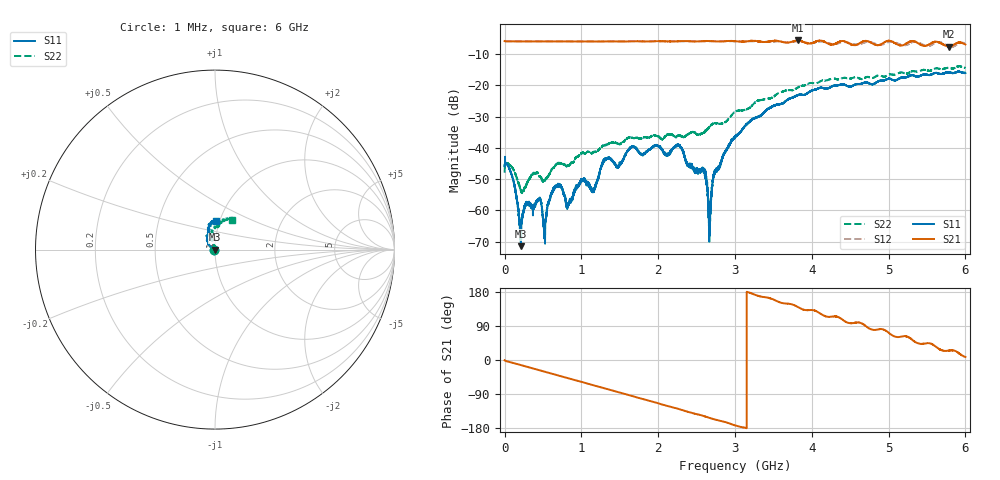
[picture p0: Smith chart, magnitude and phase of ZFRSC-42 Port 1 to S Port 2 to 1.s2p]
# GHZ S RI R 50.000000000000
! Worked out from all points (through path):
!   10000 points, 1 MHz to 6 GHz, reference 50 ohm
!   highest |S21| = -5.72 dB at 3.824 GHz (marker M1); lowest = -7.7 dB at 5.783 GHz (marker M2)
!   group delay of S21, straight-line fit = 161 ps
!   lowest |S11| = -71.4 dB at 212.8 MHz (marker M3), VSWR 1.00, Z = 50 + j0.0092 ohm
!   |S11| at or under -10 dB: start of sweep to end of sweep
!   |S22| runs from -54.5 to -13.9 dB; largest |S21 - S12| = 0.045
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0.001  -0.00506 -0.00133  0.5062 -0.00692  0.5045 -0.00614  -0.0037 -0.00154
0.105993  -0.00281 0.00175  0.4963 -0.0654  0.4979 -0.0602  -0.00332 0.00334
0.2127859  -0.000253 9.2e-05  0.4868 -0.1155  0.4886 -0.1104  -0.00108 0.00181
0.2835812  -0.00129 -4.85e-05  0.4772 -0.1496  0.4795 -0.1441  -0.00184 0.00185
0.4425706  0.00101 0.00113  0.4483 -0.222  0.4515 -0.2162  -0.000164 0.00375
0.5229652  0.000153 0.00033  0.4293 -0.2567  0.4333 -0.2507  -0.000337 0.00305
0.6573562  -0.000758 0.00224  0.3915 -0.3105  0.3963 -0.3052  -7.61e-05 0.00518
0.8277449  -0.000393 0.00114  0.3338 -0.3717  0.34 -0.3667  0.000226 0.0052
1.001133  0.000719 0.00295  0.2671 -0.4224  0.2738 -0.4182  0.0015 0.008
1.149923  0.00154 0.0013  0.2016 -0.4568  0.2095 -0.4538  0.0016 0.00834
1.317912  0.00447 0.00455  0.1254 -0.4837  0.1336 -0.4814  0.00425 0.0103
2.001267  0.0106 0.000568  -0.2072 -0.4597  -0.1981 -0.462  0.0092 0.0121
2.274248  0.0109 -0.00169  -0.3218 -0.3882  -0.3152 -0.3912  0.00795 0.0135
2.586828  0.00232 -0.00407  -0.4248 -0.2718  -0.4186 -0.2772  0.00176 0.0172
2.671422  -0.00042 1.76e-05  -0.451 -0.2301  -0.4427 -0.2387  -0.00291 0.0218
2.738018  -0.0026 0.00337  -0.4619 -0.1956  -0.4568 -0.2078  -0.00532 0.0244
3.0008  -0.0126 0.00767  -0.5006 -0.0668  -0.4967 -0.0789  -0.0115 0.0358
3.823945  -0.046 0.0533  -0.391 0.3396  -0.3881 0.3176  -0.0177 0.0919
4.000933  -0.044 0.0695  -0.3126 0.3501  -0.3079 0.3577  -0.0166 0.107
5.000467  -0.0394 0.1217  0.1572 0.4878  0.1203 0.4737  0.0265 0.1451
5.782814  -0.00683 0.1575  0.3752 0.1729  0.383 0.1686  0.0842 0.1691
6  0.00334 0.1564  0.4424 0.0613  0.4522 0.0831  0.0943 0.1639
